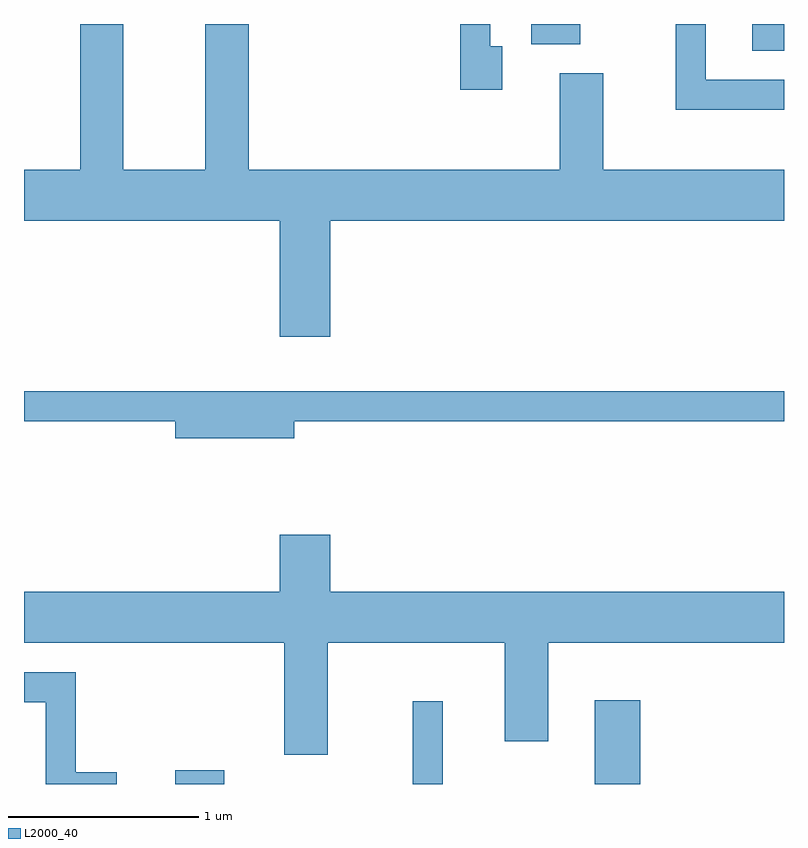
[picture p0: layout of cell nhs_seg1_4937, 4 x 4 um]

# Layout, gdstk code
import gdstk
lib = gdstk.Library(unit=1e-6, precision=1e-09)
def R(c, l, rs):  # rectangles x0, y0, x1, y1
    for r in rs: c.add(gdstk.rectangle(r[:2], r[2:], *l))
def P(c, l, *ps):  # polygons
    for p in ps: c.add(gdstk.Polygon(p, *l))
L2000_40 = (2000, 40)

nhs_seg1_4937 = lib.new_cell('nhs_seg1_4937')
R(nhs_seg1_4937, L2000_40, [(334.406,907.712,334.664,907.784), (335.656,907.712,335.814,908.148), (336.616,907.712,336.854,908.154), (337.443,911.571,337.611,911.712), (336.281,911.606,336.539,911.712)])
P(nhs_seg1_4937, L2000_40, [(335.224,910.676),(337.611,910.676),(337.611,910.944),(336.659,910.944),(336.659,911.454),(336.431,911.454),(336.431,910.944),(334.794,910.944),(334.794,911.712),(334.566,911.712),(334.566,910.944),(334.134,910.944),(334.134,911.712),(333.906,911.712),(333.906,910.944),(333.611,910.944),(333.611,910.676),(334.956,910.676),(334.956,910.066),(335.224,910.066)],
  [(336.129,911.594),(336.064,911.594),(336.064,911.712),(335.906,911.712),(335.906,911.366),(336.129,911.366)],
  [(337.611,911.419),(337.199,911.419),(337.199,911.712),(337.041,911.712),(337.041,911.261),(337.611,911.261)],
  [(335.034,909.621),(337.611,909.621),(337.611,909.779),(333.611,909.779),(333.611,909.621),(334.406,909.621),(334.406,909.531),(335.034,909.531)],
  [(335.209,908.456),(336.141,908.456),(336.141,907.936),(336.369,907.936),(336.369,908.456),(337.611,908.456),(337.611,908.724),(335.224,908.724),(335.224,909.024),(334.956,909.024),(334.956,908.724),(333.611,908.724),(333.611,908.456),(334.981,908.456),(334.981,907.866),(335.209,907.866)],
  [(334.099,907.774),(333.884,907.774),(333.884,908.299),(333.611,908.299),(333.611,908.141),(333.726,908.141),(333.726,907.712),(334.099,907.712)])

lib.write_gds('nhs_seg1_4937.gds')
